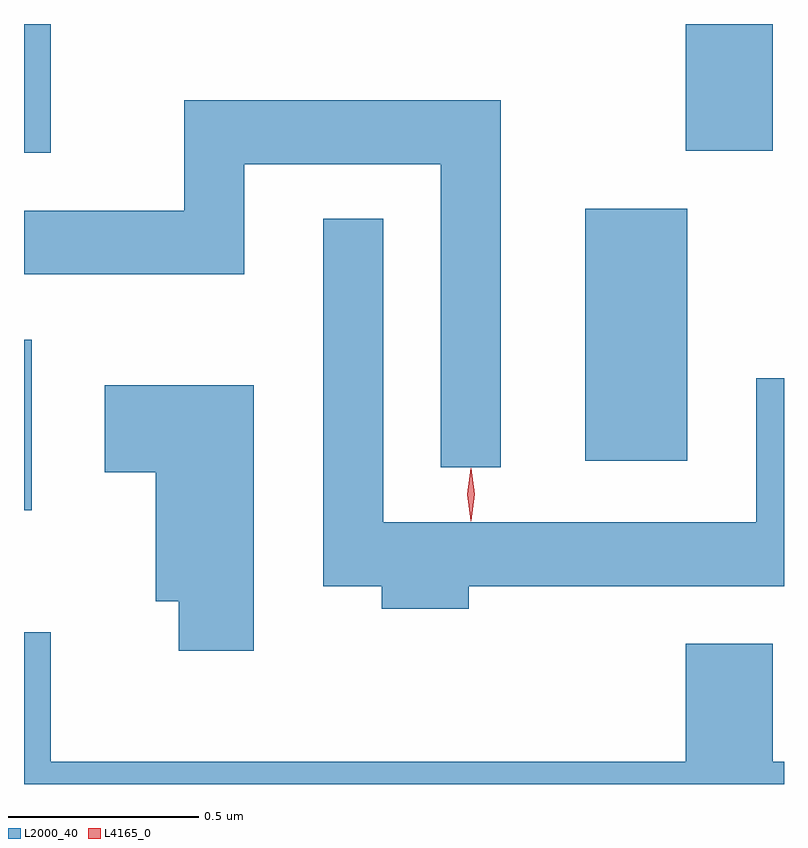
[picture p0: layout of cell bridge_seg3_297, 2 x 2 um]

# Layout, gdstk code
import gdstk
lib = gdstk.Library(unit=1e-6, precision=1e-09)
def R(c, l, rs):  # rectangles x0, y0, x1, y1
    for r in rs: c.add(gdstk.rectangle(r[:2], r[2:], *l))
def P(c, l, *ps):  # polygons
    for p in ps: c.add(gdstk.Polygon(p, *l))
L2000_40 = (2000, 40)
L4165_0 = (4165, 0)

bridge_seg3_297 = lib.new_cell('bridge_seg3_297')
R(bridge_seg3_297, L2000_40, [(1065.889,1118.066,1065.909,1118.514), (1067.366,1118.196,1067.634,1118.859), (1065.889,1119.006,1065.959,1119.345), (1067.631,1119.011,1067.859,1119.345)])
P(bridge_seg3_297, L2000_40, [(1067.144,1119.144),(1066.311,1119.144),(1066.311,1118.854),(1065.889,1118.854),(1065.889,1118.686),(1066.469,1118.686),(1066.469,1118.976),(1066.986,1118.976),(1066.986,1118.178),(1067.144,1118.178)],
  [(1067.059,1117.866),(1067.889,1117.866),(1067.889,1118.413),(1067.816,1118.413),(1067.816,1118.034),(1066.834,1118.034),(1066.834,1118.833),(1066.676,1118.833),(1066.676,1117.866),(1066.831,1117.866),(1066.831,1117.806),(1067.059,1117.806)],
  [(1066.494,1118.394),(1066.101,1118.394),(1066.101,1118.166),(1066.236,1118.166),(1066.236,1117.826),(1066.296,1117.826),(1066.296,1117.696),(1066.494,1117.696)],
  [(1067.889,1117.404),(1067.859,1117.404),(1067.859,1117.714),(1067.631,1117.714),(1067.631,1117.404),(1065.959,1117.404),(1065.959,1117.744),(1065.889,1117.744),(1065.889,1117.345),(1067.889,1117.345)])
P(bridge_seg3_297, L4165_0, [(1067.065,1118.037),(1067.065,1118.038),(1067.055,1118.107),(1067.065,1118.176),(1067.065,1118.176),(1067.066,1118.176),(1067.075,1118.107),(1067.066,1118.038)],
  [(1067.064,1118.04),(1067.064,1118.04),(1067.055,1118.106),(1067.064,1118.172),(1067.065,1118.173),(1067.065,1118.172),(1067.074,1118.106),(1067.065,1118.04)])

lib.write_gds('bridge_seg3_297.gds')
